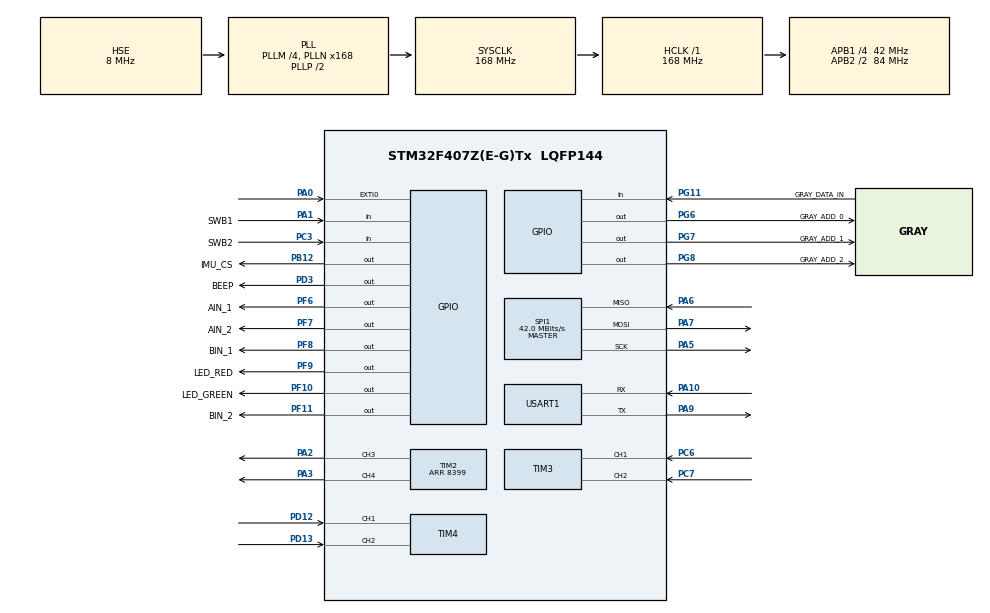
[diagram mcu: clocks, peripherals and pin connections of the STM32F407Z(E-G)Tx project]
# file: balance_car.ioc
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Mcu.Family=STM32F4
Mcu.Name=STM32F407Z(E-G)Tx
Mcu.Package=LQFP144
NVIC.EXTI0_IRQn=true\:2\:0\:true\:false\:true\:true\:true\:true
NVIC.PriorityGroup=NVIC_PRIORITYGROUP_4
NVIC.TIM6_DAC_IRQn=true\:1\:0\:true\:false\:true\:true\:true\:true
NVIC.USART1_IRQn=true\:4\:0\:true\:false\:true\:true\:true\:true
PA0-WKUP.Signal=GPXTI0
PA1.GPIO_Label=SWB1
PA1.Signal=GPIO_Input
PA10.Mode=Asynchronous
PA10.Signal=USART1_RX
PA13.Mode=Serial_Wire
PA13.Signal=SYS_JTMS-SWDIO
PA14.Mode=Serial_Wire
PA14.Signal=SYS_JTCK-SWCLK
PA2.Signal=S_TIM2_CH3
PA3.Signal=S_TIM2_CH4
PA5.Mode=Full_Duplex_Master
PA5.Signal=SPI1_SCK
PA6.Mode=Full_Duplex_Master
PA6.Signal=SPI1_MISO
PA7.Mode=Full_Duplex_Master
PA7.Signal=SPI1_MOSI
PA9.Mode=Asynchronous
PA9.Signal=USART1_TX
PB12.GPIO_Label=IMU_CS
PB12.Signal=GPIO_Output
PC3.GPIO_Label=SWB2
PC3.Signal=GPIO_Input
PC6.Signal=S_TIM3_CH1
PC7.Signal=S_TIM3_CH2
PD12.Signal=S_TIM4_CH1
PD13.Signal=S_TIM4_CH2
PD3.GPIO_Label=BEEP
PD3.Signal=GPIO_Output
PF10.GPIO_Label=LED_GREEN
PF10.Signal=GPIO_Output
PF11.GPIO_Label=BIN_2
PF11.Signal=GPIO_Output
PF6.GPIO_Label=AIN_1
PF6.Signal=GPIO_Output
PF7.GPIO_Label=AIN_2
PF7.PinState=GPIO_PIN_RESET
PF7.Signal=GPIO_Output
PF8.GPIO_Label=BIN_1
PF8.PinState=GPIO_PIN_RESET
PF8.Signal=GPIO_Output
PF9.GPIO_Label=LED_RED
PF9.Signal=GPIO_Output
PG11.GPIO_Label=GRAY_DATA_IN
PG11.Signal=GPIO_Input
PG6.GPIO_Label=GRAY_ADD_0
PG6.Signal=GPIO_Output
PG7.GPIO_Label=GRAY_ADD_1
PG7.Signal=GPIO_Output
PG8.GPIO_Label=GRAY_ADD_2
PG8.Signal=GPIO_Output
PH0-OSC_IN.Mode=HSE-External-Oscillator
PH0-OSC_IN.Signal=RCC_OSC_IN
PH1-OSC_OUT.Mode=HSE-External-Oscillator
PH1-OSC_OUT.Signal=RCC_OSC_OUT
ProjectManager.HeapSize=0x200
ProjectManager.StackSize=0x400
ProjectManager.TargetToolchain=CMake
RCC.48MHZClocksFreq_Value=84000000
RCC.AHBFreq_Value=168000000
RCC.APB1CLKDivider=RCC_HCLK_DIV4
RCC.APB1Freq_Value=42000000
RCC.APB1TimFreq_Value=84000000
RCC.APB2CLKDivider=RCC_HCLK_DIV2
RCC.APB2Freq_Value=84000000
RCC.APB2TimFreq_Value=168000000
RCC.CortexFreq_Value=168000000
RCC.HCLKFreq_Value=168000000
RCC.HSE_VALUE=8000000
RCC.HSI_VALUE=16000000
RCC.LSE_VALUE=32768
RCC.PLLM=4
RCC.PLLN=168
RCC.PLLSourceVirtual=RCC_PLLSOURCE_HSE
RCC.SYSCLKFreq_VALUE=168000000
RCC.SYSCLKSource=RCC_SYSCLKSOURCE_PLLCLK
RCC.VCOOutputFreq_Value=336000000
SH.S_TIM2_CH3.0=TIM2_CH3,PWM Generation3 CH3
SH.S_TIM2_CH4.0=TIM2_CH4,PWM Generation4 CH4
SH.S_TIM3_CH1.0=TIM3_CH1,Encoder_Interface
SH.S_TIM3_CH2.0=TIM3_CH2,Encoder_Interface
SH.S_TIM4_CH1.0=TIM4_CH1,Encoder_Interface
SH.S_TIM4_CH2.0=TIM4_CH2,Encoder_Interface
SPI1.CalculateBaudRate=42.0 MBits/s
SPI1.Direction=SPI_DIRECTION_2LINES
SPI1.Mode=SPI_MODE_MASTER
SPI1.VirtualType=VM_MASTER
TIM2.Channel-PWM\ Generation3\ CH3=TIM_CHANNEL_3
TIM2.Channel-PWM\ Generation4\ CH4=TIM_CHANNEL_4
TIM2.Period=8399
TIM3.EncoderMode=TIM_ENCODERMODE_TI12
TIM4.EncoderMode=TIM_ENCODERMODE_TI12
TIM6.Period=4999
TIM6.Prescaler=83
USART1.VirtualMode=VM_ASYNC
VP_TIM2_VS_ClockSourceINT.Mode=Internal
VP_TIM6_VS_ClockSourceINT.Mode=Enable_Timer
board=custom

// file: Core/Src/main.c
/* USER CODE BEGIN Header */
/**
  ******************************************************************************
  * @file           : main.c
  * @brief          : Main program body
  ******************************************************************************
  * @attention
  *
  * Copyright (c) 2026 STMicroelectronics.
  * All rights reserved.
  *
  * This software is licensed under terms that can be found in the LICENSE file
  * in the root directory of this software component.
  * If no LICENSE file comes with this software, it is provided AS-IS.
  *
  ******************************************************************************
  */
/* USER CODE END Header */
#include "main.h"
#include "spi.h"
#include "tim.h"
#include "usart.h"
#include "gpio.h"

/* USER CODE BEGIN Includes */
#include "bsp_motor.h"
#include "bsp_imu660rb.h"
#include "bsp_grayscale.h"
#include "bsp_encoder.h"
#include "bsp_indicator.h"
#include "filter.h"
#include "algo_control.h"
#include "app_task.h"
/* USER CODE END Includes */

/* USER CODE BEGIN PM */
volatile int16_t test_acc[3] = {0};
volatile int16_t test_gyro[3] = {0};

volatile uint8_t test_gray_data = 0;

volatile int16_t test_enc_left = 0;
volatile int16_t test_enc_right = 0;

volatile float sys_pitch = 0;
volatile float sys_pitch_rate = 0;
volatile float sys_yaw_rate = 0;
volatile float sys_yaw = 0;
uint32_t last_cycle_tick = 0;
volatile int16_t enc_l;
volatile int16_t enc_r;
/* USER CODE END PM */

/* USER CODE BEGIN PV */

uint32_t test_last_tick = 0;
/* USER CODE END PV */

void SystemClock_Config(void);

int main(void)
{

  /* MCU Configuration--------------------------------------------------------*/

  /* Reset of all peripherals, Initializes the Flash interface and the Systick. */
  HAL_Init();

  /* Configure the system clock */
  SystemClock_Config();

  /* Initialize all configured peripherals */
  MX_GPIO_Init();
  MX_SPI1_Init();
  MX_TIM2_Init();
  MX_TIM3_Init();
  MX_TIM4_Init();
  MX_TIM6_Init();
  MX_USART1_UART_Init();
  /* USER CODE BEGIN 2 */
  MotorInit();
  ImuInit();
  GrayscaleInit();
  EncoderInit();
  IndicatorInit();
  FilterInit();
  AlgoInit();
  AppTaskInit();
  HAL_TIM_Base_Start_IT(&htim6);
  BeepOn();
  HAL_Delay(100);
  BeepOff();
  /* USER CODE END 2 */

  /* Infinite loop */
  /* USER CODE BEGIN WHILE */
  while (1)
  {
    //ImuGet6Axis((int16_t*)test_acc, (int16_t*)test_gyro);
    //test_gray_data = GrayscaleReadAll();
    //-灰度传感器测试代码
    /*if (HAL_GetTick() - last_cycle_tick >= 5) {
      last_cycle_tick = HAL_GetTick();

      FilterUpdate((int16_t*)test_acc, (int16_t*)test_gyro,
                   (float*)&sys_pitch, (float*)&sys_pitch_rate, (float*)&sys_yaw_rate);
    }*/
    //MotorSetPWM(5000, 5000);
    //电机测试代码
    //test_enc_left = EncoderGetLeft();//编码器测试代码
    //test_enc_right = EncoderGetRight();
    /* USER CODE END WHILE */

  }
}

void SystemClock_Config(void)
{
  RCC_OscInitTypeDef RCC_OscInitStruct = {0};
  RCC_ClkInitTypeDef RCC_ClkInitStruct = {0};

  /** Configure the main internal regulator output voltage
  */
  __HAL_RCC_PWR_CLK_ENABLE();
  __HAL_PWR_VOLTAGESCALING_CONFIG(PWR_REGULATOR_VOLTAGE_SCALE1);

  /** Initializes the RCC Oscillators according to the specified parameters
  * in the RCC_OscInitTypeDef structure.
  */
  RCC_OscInitStruct.OscillatorType = RCC_OSCILLATORTYPE_HSE;
  RCC_OscInitStruct.HSEState = RCC_HSE_ON;
  RCC_OscInitStruct.PLL.PLLState = RCC_PLL_ON;
  RCC_OscInitStruct.PLL.PLLSource = RCC_PLLSOURCE_HSE;
  RCC_OscInitStruct.PLL.PLLM = 4;
  RCC_OscInitStruct.PLL.PLLN = 168;
  RCC_OscInitStruct.PLL.PLLP = RCC_PLLP_DIV2;
  RCC_OscInitStruct.PLL.PLLQ = 4;
  if (HAL_RCC_OscConfig(&RCC_OscInitStruct) != HAL_OK)
  {
    Error_Handler();
  }

  /** Initializes the CPU, AHB and APB buses clocks
  */
  RCC_ClkInitStruct.ClockType = RCC_CLOCKTYPE_HCLK|RCC_CLOCKTYPE_SYSCLK
                              |RCC_CLOCKTYPE_PCLK1|RCC_CLOCKTYPE_PCLK2;
  RCC_ClkInitStruct.SYSCLKSource = RCC_SYSCLKSOURCE_PLLCLK;
  RCC_ClkInitStruct.AHBCLKDivider = RCC_SYSCLK_DIV1;
  RCC_ClkInitStruct.APB1CLKDivider = RCC_HCLK_DIV4;
  RCC_ClkInitStruct.APB2CLKDivider = RCC_HCLK_DIV2;

  if (HAL_RCC_ClockConfig(&RCC_ClkInitStruct, FLASH_LATENCY_5) != HAL_OK)
  {
    Error_Handler();
  }
}

/* USER CODE BEGIN 4 */
// 这个函数由硬件定时器 TIM6 严格每 5ms 强行打断并执行一次
void HAL_TIM_PeriodElapsedCallback(TIM_HandleTypeDef *htim) {
  if (htim->Instance == TIM6)
  {
    // 1. 感知层：获取传感器原始情报
    int16_t raw_acc[3] = {0};
    int16_t raw_gyro[3] = {0};
    uint8_t gray_data = GrayscaleReadAll();
    ImuGet6Axis(raw_acc, raw_gyro);

    enc_l = EncoderGetLeft();
    enc_r = EncoderGetRight();

    // 2. 姿态层：提炼平滑的欧拉角
    FilterUpdate(raw_acc, raw_gyro,
                 (float*)&sys_pitch, (float*)&sys_pitch_rate,(float*)&sys_yaw, (float*)&sys_yaw_rate);

    // 3. 保护层：跌倒锁死检测 (倾角大于 40 度视为跌倒)
    if (sys_pitch > 40.0f || sys_pitch < -40.0f) {
      AlgoStop();         // 算法层清空所有积分历史
      MotorSetPWM(0, 0);  // 底层直接断电，防止烧毁电机或伤人
      LedRedOn();
    }
    else {
      LedRedOff();

      // 4. 大脑层：串级 PID 调度
      int16_t pwm_l = 0;
      int16_t pwm_r = 0;

      AppTaskUpdate(enc_l, enc_r,gray_data);

      AlgoUpdate(sys_pitch, sys_pitch_rate, sys_yaw , sys_yaw_rate,
                 enc_l, enc_r,gray_data,
                 &pwm_l, &pwm_r);

      // 5. 执行层：肌肉发力
      MotorSetPWM(pwm_l, pwm_r);
    }
  }
}
/* USER CODE END 4 */

void Error_Handler(void)
{
  __disable_irq();
  while (1)
  {
  }
}
